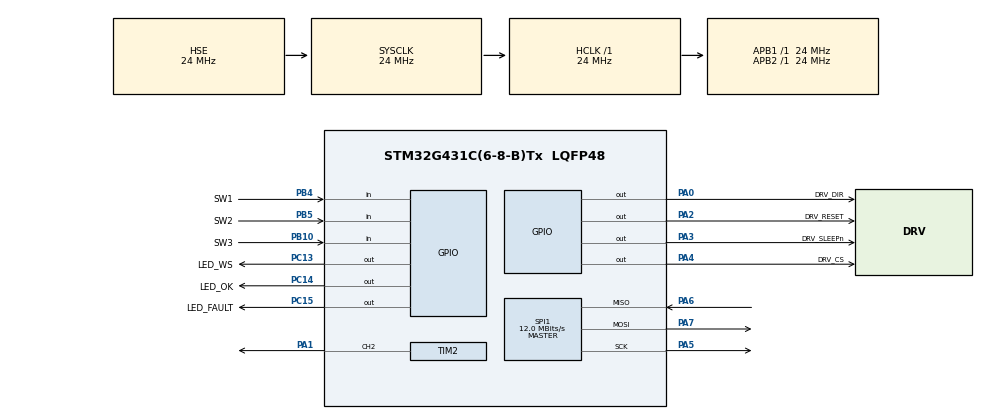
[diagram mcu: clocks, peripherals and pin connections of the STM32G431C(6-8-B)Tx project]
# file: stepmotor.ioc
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Mcu.Family=STM32G4
Mcu.Name=STM32G431C(6-8-B)Tx
Mcu.Package=LQFP48
NVIC.PriorityGroup=NVIC_PRIORITYGROUP_4
PA0.GPIO_Label=DRV_DIR
PA0.Signal=GPIO_Output
PA1.Signal=S_TIM2_CH2
PA2.GPIO_Label=DRV_RESET
PA2.Signal=GPIO_Output
PA3.GPIO_Label=DRV_SLEEPn
PA3.Signal=GPIO_Output
PA4.GPIO_Label=DRV_CS
PA4.Signal=GPIO_Output
PA5.Mode=Full_Duplex_Master
PA5.Signal=SPI1_SCK
PA6.Mode=Full_Duplex_Master
PA6.Signal=SPI1_MISO
PA7.Mode=Full_Duplex_Master
PA7.Signal=SPI1_MOSI
PB10.GPIO_Label=SW3
PB10.GPIO_PuPd=GPIO_PULLUP
PB10.Signal=GPIO_Input
PB4.GPIO_Label=SW1
PB4.GPIO_PuPd=GPIO_PULLUP
PB4.Signal=GPIO_Input
PB5.GPIO_Label=SW2
PB5.GPIO_PuPd=GPIO_PULLUP
PB5.Signal=GPIO_Input
PC13.GPIO_Label=LED_WS
PC13.Signal=GPIO_Output
PC14-OSC32_IN.GPIO_Label=LED_OK
PC14-OSC32_IN.Signal=GPIO_Output
PC15-OSC32_OUT.GPIO_Label=LED_FAULT
PC15-OSC32_OUT.Signal=GPIO_Output
PF0-OSC_IN.Mode=HSE-External-Oscillator
PF0-OSC_IN.Signal=RCC_OSC_IN
PF1-OSC_OUT.Mode=HSE-External-Oscillator
PF1-OSC_OUT.Signal=RCC_OSC_OUT
ProjectManager.HeapSize=0x200
ProjectManager.StackSize=0x400
ProjectManager.TargetToolchain=STM32CubeIDE
RCC.ADC12Freq_Value=24000000
RCC.AHBFreq_Value=24000000
RCC.APB1Freq_Value=24000000
RCC.APB1TimFreq_Value=24000000
RCC.APB2Freq_Value=24000000
RCC.APB2TimFreq_Value=24000000
RCC.CortexFreq_Value=24000000
RCC.EXTERNAL_CLOCK_VALUE=12288000
RCC.HCLKFreq_Value=24000000
RCC.HSE_VALUE=24000000
RCC.HSI48_VALUE=48000000
RCC.HSI_VALUE=16000000
RCC.LSE_VALUE=32768
RCC.PLLSourceVirtual=RCC_PLLSOURCE_HSE
RCC.SYSCLKFreq_VALUE=24000000
RCC.SYSCLKSource=RCC_SYSCLKSOURCE_HSE
RCC.USBFreq_Value=96000000
RCC.VCOOutputFreq_Value=192000000
SH.S_TIM2_CH2.0=TIM2_CH2,PWM Generation2 CH2
SPI1.CalculateBaudRate=12.0 MBits/s
SPI1.DataSize=SPI_DATASIZE_16BIT
SPI1.Direction=SPI_DIRECTION_2LINES
SPI1.Mode=SPI_MODE_MASTER
SPI1.NSSPMode=SPI_NSS_PULSE_DISABLE
SPI1.VirtualType=VM_MASTER
TIM2.Channel-PWM\ Generation2\ CH2=TIM_CHANNEL_2
TIM2.PeriodNoDither=1000
TIM2.Prescaler=23
TIM2.PulseNoDither_2=10
VP_SYS_VS_DBSignals.Mode=DisableDeadBatterySignals
board=custom

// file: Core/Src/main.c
/* USER CODE BEGIN Header */
/**
  ******************************************************************************
  * @file           : main.c
  * @brief          : Main program body
  ******************************************************************************
  * @attention
  *
  * Copyright (c) 2025 STMicroelectronics.
  * All rights reserved.
  *
  * This software is licensed under terms that can be found in the LICENSE file
  * in the root directory of this software component.
  * If no LICENSE file comes with this software, it is provided AS-IS.
  *
  ******************************************************************************
  */
/* USER CODE END Header */
#include "main.h"

/* USER CODE BEGIN Includes */
#include <stdbool.h>
/* USER CODE END Includes */

/* USER CODE BEGIN PD */
#define DRV8711_CTRL    0x00
#define DRV8711_TORQUE  0x01
#define DRV8711_OFF     0x02
#define DRV8711_BLANK   0x03
#define DRV8711_DECAY   0x04
#define DRV8711_STALL   0x05
#define DRV8711_DRIVE   0x06
#define DRV8711_STATUS  0x07
/* USER CODE END PD */

SPI_HandleTypeDef hspi1;

TIM_HandleTypeDef htim2;

/* USER CODE BEGIN PV */
volatile bool motor_is_running = false;
/* USER CODE END PV */

void SystemClock_Config(void);
static void MX_GPIO_Init(void);
static void MX_TIM2_Init(void);
static void MX_SPI1_Init(void);

/* USER CODE BEGIN 0 */
bool is_button_pressed(GPIO_TypeDef *GPIO_Port, uint16_t GPIO_Pin) {
  if (HAL_GPIO_ReadPin(GPIO_Port, GPIO_Pin) == GPIO_PIN_RESET) {
    return true;
  } else {
    return false;
  }
}

void DRV8711_WriteRegister(uint8_t address, uint16_t value){

	uint16_t packet = ((address & 0x07) << 12|(value & 0x0FFF));

	HAL_GPIO_WritePin(DRV_CS_GPIO_Port, DRV_CS_Pin, GPIO_PIN_SET);

	HAL_SPI_Transmit(&hspi1, (uint8_t*)&packet, 1, 1000);

	HAL_GPIO_WritePin(DRV_CS_GPIO_Port, DRV_CS_Pin, GPIO_PIN_RESET);

}

void DRV8711_Init(void){

	DRV8711_WriteRegister(DRV8711_TORQUE, 0x030);
	DRV8711_WriteRegister(DRV8711_CTRL, 0xC09);

}

/* USER CODE END 0 */

int main(void)
{

  /* MCU Configuration--------------------------------------------------------*/

  /* Reset of all peripherals, Initializes the Flash interface and the Systick. */
  HAL_Init();

  /* Configure the system clock */
  SystemClock_Config();

  /* Initialize all configured peripherals */
  MX_GPIO_Init();
  MX_TIM2_Init();
  MX_SPI1_Init();
  /* USER CODE BEGIN 2 */

  HAL_GPIO_WritePin(DRV_RESET_GPIO_Port, DRV_RESET_Pin, GPIO_PIN_RESET);
  HAL_GPIO_WritePin(DRV_SLEEPn_GPIO_Port, DRV_SLEEPn_Pin, GPIO_PIN_SET);

  HAL_Delay(5);

  DRV8711_Init();

  /* USER CODE END 2 */

  /* Infinite loop */
  /* USER CODE BEGIN WHILE */
  /* USER CODE BEGIN WHILE */
  while (1)
    {
	  if(is_button_pressed(SW3_GPIO_Port, SW3_Pin)){
		  HAL_TIM_PWM_Stop(&htim2, TIM_CHANNEL_2);
		  motor_is_running = false;
		  HAL_Delay(50);
	  }

	  else if(is_button_pressed(SW1_GPIO_Port, SW1_Pin) && !motor_is_running){
		  HAL_GPIO_WritePin(DRV_DIR_GPIO_Port, DRV_DIR_Pin, GPIO_PIN_SET);
		  HAL_TIM_PWM_Start(&htim2, TIM_CHANNEL_2);
		  motor_is_running = true;
		  HAL_Delay(50);
	  }

	  else if(is_button_pressed(SW2_GPIO_Port, SW2_Pin) && !motor_is_running){
		  HAL_GPIO_WritePin(DRV_DIR_GPIO_Port, DRV_DIR_Pin, GPIO_PIN_RESET);
		  HAL_TIM_PWM_Start(&htim2, TIM_CHANNEL_2);
		  motor_is_running = true;
		  HAL_Delay(50);
	  }

	  else if(is_button_pressed(SW3_GPIO_Port, SW3_Pin) && !motor_is_running) {
		  DRV8711_WriteRegister(DRV8711_CTRL, 0x000);

	  }

    /* USER CODE END WHILE */

  }
}

void SystemClock_Config(void)
{
  RCC_OscInitTypeDef RCC_OscInitStruct = {0};
  RCC_ClkInitTypeDef RCC_ClkInitStruct = {0};

  /** Configure the main internal regulator output voltage
  */
  HAL_PWREx_ControlVoltageScaling(PWR_REGULATOR_VOLTAGE_SCALE1);

  /** Initializes the RCC Oscillators according to the specified parameters
  * in the RCC_OscInitTypeDef structure.
  */
  RCC_OscInitStruct.OscillatorType = RCC_OSCILLATORTYPE_HSE;
  RCC_OscInitStruct.HSEState = RCC_HSE_ON;
  RCC_OscInitStruct.PLL.PLLState = RCC_PLL_NONE;
  if (HAL_RCC_OscConfig(&RCC_OscInitStruct) != HAL_OK)
  {
    Error_Handler();
  }

  /** Initializes the CPU, AHB and APB buses clocks
  */
  RCC_ClkInitStruct.ClockType = RCC_CLOCKTYPE_HCLK|RCC_CLOCKTYPE_SYSCLK
                              |RCC_CLOCKTYPE_PCLK1|RCC_CLOCKTYPE_PCLK2;
  RCC_ClkInitStruct.SYSCLKSource = RCC_SYSCLKSOURCE_HSE;
  RCC_ClkInitStruct.AHBCLKDivider = RCC_SYSCLK_DIV1;
  RCC_ClkInitStruct.APB1CLKDivider = RCC_HCLK_DIV1;
  RCC_ClkInitStruct.APB2CLKDivider = RCC_HCLK_DIV1;

  if (HAL_RCC_ClockConfig(&RCC_ClkInitStruct, FLASH_LATENCY_0) != HAL_OK)
  {
    Error_Handler();
  }
}

static void MX_SPI1_Init(void)
{

  /* SPI1 parameter configuration*/
  hspi1.Instance = SPI1;
  hspi1.Init.Mode = SPI_MODE_MASTER;
  hspi1.Init.Direction = SPI_DIRECTION_2LINES;
  hspi1.Init.DataSize = SPI_DATASIZE_16BIT;
  hspi1.Init.CLKPolarity = SPI_POLARITY_LOW;
  hspi1.Init.CLKPhase = SPI_PHASE_1EDGE;
  hspi1.Init.NSS = SPI_NSS_SOFT;
  hspi1.Init.BaudRatePrescaler = SPI_BAUDRATEPRESCALER_2;
  hspi1.Init.FirstBit = SPI_FIRSTBIT_MSB;
  hspi1.Init.TIMode = SPI_TIMODE_DISABLE;
  hspi1.Init.CRCCalculation = SPI_CRCCALCULATION_DISABLE;
  hspi1.Init.CRCPolynomial = 7;
  hspi1.Init.CRCLength = SPI_CRC_LENGTH_DATASIZE;
  hspi1.Init.NSSPMode = SPI_NSS_PULSE_DISABLE;
  if (HAL_SPI_Init(&hspi1) != HAL_OK)
  {
    Error_Handler();
  }

}

static void MX_TIM2_Init(void)
{

  TIM_MasterConfigTypeDef sMasterConfig = {0};
  TIM_OC_InitTypeDef sConfigOC = {0};

  htim2.Instance = TIM2;
  htim2.Init.Prescaler = 23;
  htim2.Init.CounterMode = TIM_COUNTERMODE_UP;
  htim2.Init.Period = 1000;
  htim2.Init.ClockDivision = TIM_CLOCKDIVISION_DIV1;
  htim2.Init.AutoReloadPreload = TIM_AUTORELOAD_PRELOAD_DISABLE;
  if (HAL_TIM_PWM_Init(&htim2) != HAL_OK)
  {
    Error_Handler();
  }
  sMasterConfig.MasterOutputTrigger = TIM_TRGO_RESET;
  sMasterConfig.MasterSlaveMode = TIM_MASTERSLAVEMODE_DISABLE;
  if (HAL_TIMEx_MasterConfigSynchronization(&htim2, &sMasterConfig) != HAL_OK)
  {
    Error_Handler();
  }
  sConfigOC.OCMode = TIM_OCMODE_PWM1;
  sConfigOC.Pulse = 10;
  sConfigOC.OCPolarity = TIM_OCPOLARITY_HIGH;
  sConfigOC.OCFastMode = TIM_OCFAST_DISABLE;
  if (HAL_TIM_PWM_ConfigChannel(&htim2, &sConfigOC, TIM_CHANNEL_2) != HAL_OK)
  {
    Error_Handler();
  }
  HAL_TIM_MspPostInit(&htim2);

}

static void MX_GPIO_Init(void)
{
  GPIO_InitTypeDef GPIO_InitStruct = {0};

  /* GPIO Ports Clock Enable */
  __HAL_RCC_GPIOC_CLK_ENABLE();
  __HAL_RCC_GPIOF_CLK_ENABLE();
  __HAL_RCC_GPIOA_CLK_ENABLE();
  __HAL_RCC_GPIOB_CLK_ENABLE();

  /*Configure GPIO pin Output Level */
  HAL_GPIO_WritePin(GPIOC, LED_WS_Pin|LED_OK_Pin|LED_FAULT_Pin, GPIO_PIN_RESET);

  /*Configure GPIO pin Output Level */
  HAL_GPIO_WritePin(GPIOA, DRV_DIR_Pin|DRV_RESET_Pin|DRV_SLEEPn_Pin|DRV_CS_Pin, GPIO_PIN_RESET);

  /*Configure GPIO pins : LED_WS_Pin LED_OK_Pin LED_FAULT_Pin */
  GPIO_InitStruct.Pin = LED_WS_Pin|LED_OK_Pin|LED_FAULT_Pin;
  GPIO_InitStruct.Mode = GPIO_MODE_OUTPUT_PP;
  GPIO_InitStruct.Pull = GPIO_NOPULL;
  GPIO_InitStruct.Speed = GPIO_SPEED_FREQ_LOW;
  HAL_GPIO_Init(GPIOC, &GPIO_InitStruct);

  /*Configure GPIO pins : DRV_DIR_Pin DRV_RESET_Pin DRV_SLEEPn_Pin DRV_CS_Pin */
  GPIO_InitStruct.Pin = DRV_DIR_Pin|DRV_RESET_Pin|DRV_SLEEPn_Pin|DRV_CS_Pin;
  GPIO_InitStruct.Mode = GPIO_MODE_OUTPUT_PP;
  GPIO_InitStruct.Pull = GPIO_NOPULL;
  GPIO_InitStruct.Speed = GPIO_SPEED_FREQ_LOW;
  HAL_GPIO_Init(GPIOA, &GPIO_InitStruct);

  /*Configure GPIO pins : SW3_Pin SW1_Pin SW2_Pin */
  GPIO_InitStruct.Pin = SW3_Pin|SW1_Pin|SW2_Pin;
  GPIO_InitStruct.Mode = GPIO_MODE_INPUT;
  GPIO_InitStruct.Pull = GPIO_PULLUP;
  HAL_GPIO_Init(GPIOB, &GPIO_InitStruct);

}

void Error_Handler(void)
{
  __disable_irq();
  while (1)
  {
  }
}
